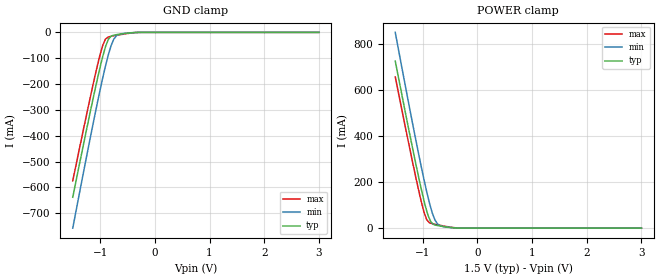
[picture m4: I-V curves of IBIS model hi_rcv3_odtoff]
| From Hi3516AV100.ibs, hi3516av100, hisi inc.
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|   Model hi_rcv3_odtoff
[Model]   hi_rcv3_odtoff
Model_type   Input
Vinl = 0.575
Vinh = 0.925
| variable   typ   min   max
C_comp   2.76051p   2.74866p   2.78327p
| Subparameter   typ   min   max
[Model Spec]
Vinl   0.575   0.575   0.575
Vinh   0.925   0.925   0.925
| Variable   typ   min   max
[Temperature Range] 25   125   -40
| Variable   typ   min   max
[Voltage Range]   1.5   1.425   1.575
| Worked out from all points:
|   GND clamp passes 1 mA (typ) near -0.39 V on its own axis
|   POWER clamp passes 1 mA (typ) near -0.41 V on its own axis
[Power_clamp]
| Note that the [POWER_clamp] voltage table is referenced to Vcc
| and is calculated using Vtable=Vcc - Vmeasured.
| Voltage   I(typ)   I(min)   I(max)
-1.5V     727.7mA    852.8mA    658.7mA
-1.125V   281.1mA    385.1mA    221.9mA
-1.025V   171mA      267.7mA    116.1mA
-975mV    120.3mA    211.6mA    70.26mA
-925mV    75.44mA    158.3mA    36.86mA
-900mV    54.88mA    133.8mA    29.99mA
-850mV    27.44mA    88.23mA    21.16mA
-775mV    14.07mA    35.68mA    16.66mA
-725mV    11.03mA    17.7mA     14.3mA
-625mV    7.126mA    6.658mA    9.778mA
-325mV    220.9uA    245.7uA    291.3uA
3V        -35.37nA   -806.7nA   -14.54nA
[GND_clamp]
| Voltage   I(typ)   I(min)   I(max)
-1.5V     -638.4mA   -758mA     -574.9mA
-1.15V    -277.9mA   -376.6mA   -222.6mA
-1.05V    -180.7mA   -272.8mA   -128.8mA
-950mV    -91.74mA   -174.3mA   -48.96mA
-900mV    -54.39mA   -128.6mA   -25.47mA
-850mV    -27.43mA   -86.91mA   -17.81mA
-800mV    -14.76mA   -51.66mA   -15.26mA
-750mV    -10.72mA   -26.32mA   -13.3mA
-700mV    -8.829mA   -12.74mA   -11.42mA
-600mV    -5.884mA   -5.023mA   -7.823mA
-300mV    -153uA     -214.7uA   -185.4uA
3V        64.37nA    942.4nA    12.9nA
